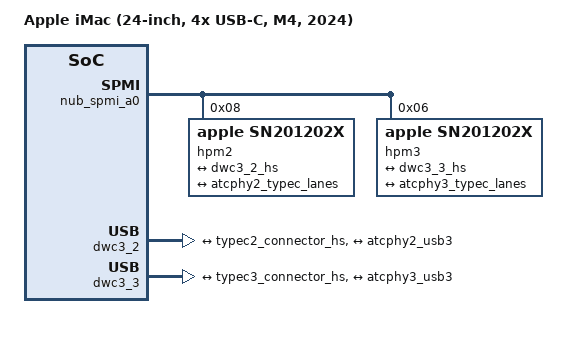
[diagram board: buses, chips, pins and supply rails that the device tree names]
// SPDX-License-Identifier: GPL-2.0+ OR MIT
/*
 * Apple iMac (24-inch, 4x USB-C, M4, 2024)
 *
 * target-type: J624
 *
 * Copyright The Asahi Linux Contributors
 */

/dts-v1/;

#include "t8132.dtsi"
#include "t8132-jxxx.dtsi"

/ {
	compatible = "apple,j624", "apple,t8132", "apple,arm-platform";
	model = "Apple iMac (24-inch, 4x USB-C, M4, 2024)";
};

/*
 * Provide labels for the USB type C ports.
 */

&typec0 {
	label = "USB-C Back-right";
};

&typec1 {
	label = "USB-C Back-right-middle";
};

/*
 * Add the additional two USB type C ports
 */

&nub_spmi_a0 {
	hpm2: usb-pd@8 {
		compatible = "apple,sn201202x";
		reg = <0x8 SPMI_USID>;
		interrupts = <63 IRQ_TYPE_EDGE_RISING>,
			<64 IRQ_TYPE_EDGE_RISING>,
			<69 IRQ_TYPE_EDGE_RISING>,
			<71 IRQ_TYPE_EDGE_RISING>;
		interrupt-names = "irq", "select", "sleep", "wake";

		typec2: connector {
			label = "USB-C Back-left-middle";
			compatible = "usb-c-connector";
			power-role = "dual";
			data-role = "dual";

			ports {
				#address-cells = <1>;
				#size-cells = <0>;
				port@0 {
					reg = <0>;
					typec2_connector_hs: endpoint {
						remote-endpoint = <&dwc3_2_hs>;
					};
				};
				port@1 {
					reg = <1>;
					typec2_connector_ss: endpoint {
						remote-endpoint = <&atcphy2_typec_lanes>;
					};
				};
			};
		};
	};

	hpm3: usb-pd@6 {
		compatible = "apple,sn201202x";
		reg = <0x6 SPMI_USID>;
		interrupts = <89 IRQ_TYPE_EDGE_RISING>,
			<91 IRQ_TYPE_EDGE_RISING>,
			<95 IRQ_TYPE_EDGE_RISING>,
			<97 IRQ_TYPE_EDGE_RISING>;
		interrupt-names = "irq", "select", "sleep", "wake";

		typec3: connector {
			label = "USB-C Back-left";
			compatible = "usb-c-connector";
			power-role = "dual";
			data-role = "dual";

			ports {
				#address-cells = <1>;
				#size-cells = <0>;
				port@0 {
					reg = <0>;
					typec3_connector_hs: endpoint {
						remote-endpoint = <&dwc3_3_hs>;
					};
				};
				port@1 {
					reg = <1>;
					typec3_connector_ss: endpoint {
						remote-endpoint = <&atcphy3_typec_lanes>;
					};
				};
			};
		};
	};
};

&atcphy2 {
	ports {
		#address-cells = <1>;
		#size-cells = <0>;

		port@0 {
			reg = <0>;
			atcphy2_typec_lanes: endpoint {
				remote-endpoint = <&typec2_connector_ss>;
			};
		};

		port@1 {
			reg = <1>;
			atcphy2_usb3: endpoint {
				remote-endpoint = <&dwc3_2_ss>;
			};
		};
	};
};

&atcphy3 {
	ports {
		#address-cells = <1>;
		#size-cells = <0>;

		port@0 {
			reg = <0>;
			atcphy3_typec_lanes: endpoint {
				remote-endpoint = <&typec3_connector_ss>;
			};
		};

		port@1 {
			reg = <1>;
			atcphy3_usb3: endpoint {
				remote-endpoint = <&dwc3_3_ss>;
			};
		};
	};
};

&dwc3_2 {
	ports {
		#address-cells = <1>;
		#size-cells = <0>;

		port@0 {
			reg = <0>;
			dwc3_2_hs: endpoint {
				remote-endpoint = <&typec2_connector_hs>;
			};
		};
		port@1 {
			reg = <1>;
			dwc3_2_ss: endpoint {
				remote-endpoint = <&atcphy2_usb3>;
			};
		};
	};
};

&dwc3_3 {
	ports {
		#address-cells = <1>;
		#size-cells = <0>;

		port@0 {
			reg = <0>;
			dwc3_3_hs: endpoint {
				remote-endpoint = <&typec3_connector_hs>;
			};
		};
		port@1 {
			reg = <1>;
			dwc3_3_ss: endpoint {
				remote-endpoint = <&atcphy3_usb3>;
			};
		};
	};
};
